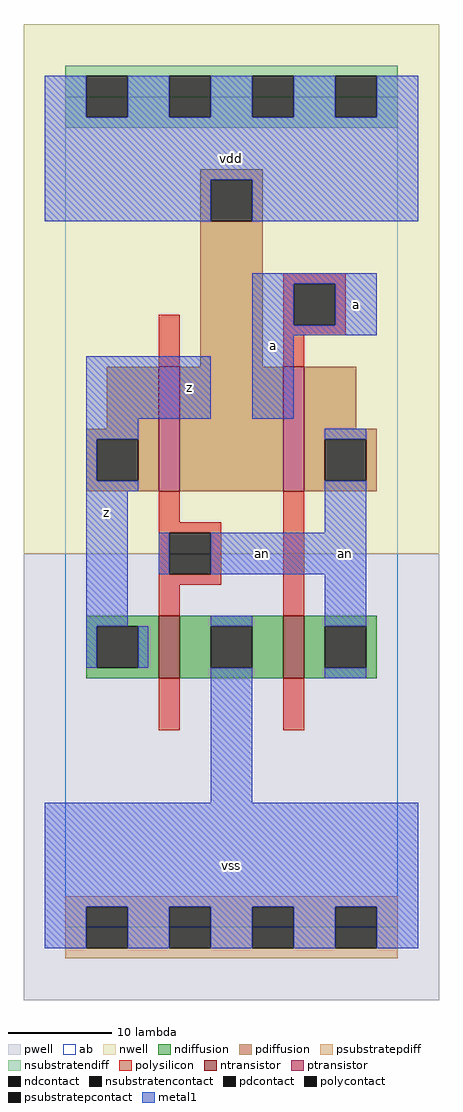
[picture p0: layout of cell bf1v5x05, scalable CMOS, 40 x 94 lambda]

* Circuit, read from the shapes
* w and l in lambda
.subckt bf1v5x05 a an vdd vss z
M1 vss an z vss nfet w=6 l=2
M2 an a vss vss nfet w=6 l=2
M3 vdd an z vdd pfet w=12 l=2
M4 an a vdd vdd pfet w=12 l=2
.ends

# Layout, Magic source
magic
tech scmos
<< ab >>
rect 0 0 32 80
<< pwell >>
rect -4 -7 36 36
<< nwell >>
rect -4 36 36 87
<< polysilicon >>
rect 9 54 11 59
rect 21 62 27 63
rect 21 58 22 62
rect 26 58 27 62
rect 21 57 27 58
rect 21 54 23 57
rect 9 39 11 42
rect 9 38 15 39
rect 9 34 10 38
rect 14 34 15 38
rect 9 33 15 34
rect 9 30 11 33
rect 21 30 23 42
rect 9 19 11 24
rect 21 19 23 24
<< ndiffusion >>
rect 2 29 9 30
rect 2 25 3 29
rect 7 25 9 29
rect 2 24 9 25
rect 11 29 21 30
rect 11 25 14 29
rect 18 25 21 29
rect 11 24 21 25
rect 23 29 30 30
rect 23 25 25 29
rect 29 25 30 29
rect 23 24 30 25
<< pdiffusion >>
rect 13 72 19 73
rect 13 68 14 72
rect 18 68 19 72
rect 13 54 19 68
rect 4 48 9 54
rect 2 47 9 48
rect 2 43 3 47
rect 7 43 9 47
rect 2 42 9 43
rect 11 42 21 54
rect 23 48 28 54
rect 23 47 30 48
rect 23 43 25 47
rect 29 43 30 47
rect 23 42 30 43
<< metal1 >>
rect -2 78 2 82
rect 6 78 10 82
rect 14 78 18 82
rect 22 78 26 82
rect 30 78 34 82
rect -2 72 34 78
rect -2 68 14 72
rect 18 68 34 72
rect 18 62 30 63
rect 18 58 22 62
rect 26 58 30 62
rect 18 57 30 58
rect 2 49 14 55
rect 18 49 22 57
rect 2 47 7 49
rect 2 43 3 47
rect 2 42 7 43
rect 25 47 29 48
rect 2 29 6 42
rect 25 38 29 43
rect 9 34 10 38
rect 14 34 29 38
rect 14 29 18 30
rect 2 25 3 29
rect 7 25 8 29
rect 14 12 18 25
rect 25 29 29 34
rect 25 24 29 25
rect -2 2 34 12
rect -2 -2 2 2
rect 6 -2 10 2
rect 14 -2 18 2
rect 22 -2 26 2
rect 30 -2 34 2
<< ntransistor >>
rect 9 24 11 30
rect 21 24 23 30
<< ptransistor >>
rect 9 42 11 54
rect 21 42 23 54
<< polycontact >>
rect 22 58 26 62
rect 10 34 14 38
<< ndcontact >>
rect 3 25 7 29
rect 14 25 18 29
rect 25 25 29 29
<< pdcontact >>
rect 14 68 18 72
rect 3 43 7 47
rect 25 43 29 47
<< psubstratepcontact >>
rect 2 -2 6 2
rect 10 -2 14 2
rect 18 -2 22 2
rect 26 -2 30 2
<< nsubstratencontact >>
rect 2 78 6 82
rect 10 78 14 82
rect 18 78 22 82
rect 26 78 30 82
<< psubstratepdiff >>
rect 0 2 32 3
rect 0 -2 2 2
rect 6 -2 10 2
rect 14 -2 18 2
rect 22 -2 26 2
rect 30 -2 32 2
rect 0 -3 32 -2
<< nsubstratendiff >>
rect 0 82 32 83
rect 0 78 2 82
rect 6 78 10 82
rect 14 78 18 82
rect 22 78 26 82
rect 30 78 32 82
rect 0 77 32 78
<< labels >>
rlabel metal1 4 40 4 40 6 z
rlabel metal1 12 52 12 52 6 z
rlabel metal1 16 6 16 6 6 vss
rlabel metal1 20 56 20 56 6 a
rlabel metal1 16 74 16 74 6 vdd
rlabel metal1 19 36 19 36 6 an
rlabel metal1 27 36 27 36 6 an
rlabel metal1 28 60 28 60 6 a
<< end >>
